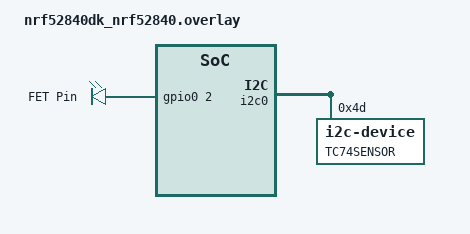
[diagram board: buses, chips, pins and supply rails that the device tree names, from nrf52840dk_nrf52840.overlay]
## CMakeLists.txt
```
# SPDX-License-Identifier: Apache-2.0

cmake_minimum_required(VERSION 3.20.0)
find_package(Zephyr REQUIRED HINTS $ENV{ZEPHYR_BASE})
project(Proj_3)

#  Add source files from main directory
target_sources(app PRIVATE
    src/main.c
)

#  Add include directories
target_include_directories(app PRIVATE
    src
    src/modules
)

#  Add subdirectory for modules
add_subdirectory(src/modules)
```

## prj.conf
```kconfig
CONFIG_GPIO=y
CONFIG_I2C=y
CONFIG_PRINTK=y
CONFIG_SERIAL=y
CONFIG_UART_ASYNC_API=y
```

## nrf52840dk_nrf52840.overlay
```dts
// To get started, press Ctrl+Space to bring up the completion menu and view the available nodes.

// You can also use the buttons in the sidebar to perform actions on nodes.
// Actions currently available include:

// * Enabling / disabling the node
// * Adding the bus to a bus
// * Removing the node
// * Connecting ADC channels

// For more help, browse the DeviceTree documentation at https://docs.zephyrproject.org/latest/guides/dts/index.html
// You can also visit the nRF DeviceTree extension documentation at https://nrfconnect.github.io/vscode-nrf-connect/devicetree/nrfdevicetree.html
&i2c0 {
    tc74sensor: tc74sensor@48{
        compatible = "i2c-device";
        reg = < 0x4D >;
        label = "TC74SENSOR";
    };
};
/ {
    leds {
        fetpin: fet-pin {
            gpios = <&gpio0 2 0>;
            label = "FET Pin";
        };
    };

    aliases {
        fetpin = &fetpin;
    };
};
```

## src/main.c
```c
/**
 * @file main.c
 * @brief Main system controller for temperature regulation
 *
 * This module initializes all system components including:
 * - LED indicators
 * - Temperature sensor (TC74 via I2C)
 * - Heater control (via FET)
 * - UART communication interface
 * - Real-Time Database (RTDB)
 * - Button inputs
 *
 * The system implements a PID controller for temperature regulation
 * with multiple threads handling different aspects of the control system.
 * \author Pedro Ramos, n.º 107348
 * \author Rafael Morgado, n.º 104277
 * \date 01/06/2025
 */

#include <zephyr/kernel.h>
#include <zephyr/device.h>
#include <zephyr/devicetree.h>
#include <zephyr/drivers/gpio.h>
#include <zephyr/drivers/i2c.h>   /* Required for  I2C */
#include <zephyr/drivers/uart.h>  /* for UART API*/
#include <zephyr/sys/printk.h>

#include <stdio.h>
#include <stdlib.h>
#include <string.h>

#include "modules/rtdb.h"
#include "modules/buttons.h"
#include "modules/PID.h"
#include "modules/cmdproc.h"

#define SUCCESS 0     /**< Operation successful return code */
#define ERR_FATAL -1  /**< Fatal error return code */



/* ---------- LED Configuration ---------- */
#define LED0_NODE DT_ALIAS(led0)  /**< Devicetree alias for LED0 */
#define LED1_NODE DT_ALIAS(led1)  /**< Devicetree alias for LED1 */
#define LED2_NODE DT_ALIAS(led2)  /**< Devicetree alias for LED2 */
#define LED3_NODE DT_ALIAS(led3)  /**< Devicetree alias for LED3 */

#define led_thread_period 500  /**< LED update period in milliseconds */
K_TIMER_DEFINE(led_thread_timer, NULL, NULL);  /**< Timer for LED thread */

static const struct gpio_dt_spec led0 = GPIO_DT_SPEC_GET(LED0_NODE, gpios);  /**< LED0 GPIO specification */
static const struct gpio_dt_spec led1 = GPIO_DT_SPEC_GET(LED1_NODE, gpios);  /**< LED1 GPIO specification */
static const struct gpio_dt_spec led2 = GPIO_DT_SPEC_GET(LED2_NODE, gpios);  /**< LED2 GPIO specification */
static const struct gpio_dt_spec led3 = GPIO_DT_SPEC_GET(LED3_NODE, gpios);  /**< LED3 GPIO specification */


/* ---------- Temperature Sensor Configuration ---------- */
#define TC74_CMD_RTR 0x00   /**< Read temperature command */
#define TC74_CMD_RWCR 0x01  /**< Read/write configuration register */

#define I2C0_NID DT_NODELABEL(tc74sensor)  /**< Devicetree node identifier for TC74 sensor */
static const struct i2c_dt_spec dev_i2c = I2C_DT_SPEC_GET(I2C0_NID);  /**< I2C device specification */

#define temp_read_thread_period 250  /**< Temperature reading period in milliseconds */
K_TIMER_DEFINE(temp_read_thread_timer, NULL, NULL);  /**< Timer for temperature reading thread */


/* ---------- Heater Control Configuration ---------- */
#define FET_NODE DT_ALIAS(fetpin)  /**< Devicetree alias for FET control pin */
static const struct gpio_dt_spec fet = GPIO_DT_SPEC_GET(FET_NODE, gpios);  /**< FET GPIO specification */


/* ---------- UART Configuration ---------- */
#define UART_NODE DT_NODELABEL(uart0)  /**< Devicetree node identifier for UART0 */

#define RXBUF_SIZE 60      /**< UART receive buffer size */
#define TXBUF_SIZE 60      /**< UART transmit buffer size */
#define MSG_BUF_SIZE 100   /**< Complete message buffer size */
#define RX_TIMEOUT 1000    /**< UART receive timeout in microseconds */

/** UART configuration structure */
const struct uart_config uart_cfg = {
		.baudrate = 115200,
		.parity = UART_CFG_PARITY_NONE,
		.stop_bits = UART_CFG_STOP_BITS_1,
		.data_bits = UART_CFG_DATA_BITS_8,
		.flow_ctrl = UART_CFG_FLOW_CTRL_NONE
};

const struct device *uart_dev = DEVICE_DT_GET(UART_NODE);  /**< UART device instance */
static uint8_t rx_buf[RXBUF_SIZE];      /**< UART receive buffer */
static uint8_t rx_chars[RXBUF_SIZE];    /**< Buffer for received characters */
volatile int uart_rxbuf_nchar = 0;      /**< Number of characters in receive buffer */

/*  - Callback Setup  */
static void uart_cb(const struct device *dev, struct uart_event *evt, void *user_data);


/* ---------- Semaphores ---------- */
struct k_sem sensor_to_controller_sem = Z_SEM_INITIALIZER(sensor_to_controller_sem, 0, 1); /**< For executing the PID controller on the new value after a sensor read  */
struct k_sem controller_to_heater_sem = Z_SEM_INITIALIZER(controller_to_heater_sem, 0, 1); /**< For executing the heat control based on the on/off value from the PID  */
struct k_sem uart_full_message_sem = Z_SEM_INITIALIZER(uart_full_message_sem, 0, 1); /**< For executing the command processor when a complete message is received  */



/**
 * @brief LED update task
 *
 * This thread periodically updates the LED indicators based on system state:
 * - LED0: System power state (on/off)
 * - LED1: Temperature within desired range (±2°C)
 * - LED2: Temperature below desired range
 * - LED3: Temperature above desired range
 */
void led_update_task(void) {
    k_timer_start(&led_thread_timer, K_MSEC(led_thread_period), K_MSEC(led_thread_period));

    while (1) {
        /*  Wait for timer event  */
        k_timer_status_sync(&led_thread_timer);

        bool on = rtdb_get_system_on();
        int desired = rtdb_get_desired_temp();
        int current = rtdb_get_current_temp();

        gpio_pin_set_dt(&led0, on ? 1 : 0);

        if (!on) {
            gpio_pin_set_dt(&led1, 0);
            gpio_pin_set_dt(&led2, 0);
            gpio_pin_set_dt(&led3, 0);
        } else {
            int diff = current - desired;
            gpio_pin_set_dt(&led1, (diff >= -2 && diff <= 2) ? 1 : 0);
            gpio_pin_set_dt(&led2, (diff < -2) ? 1 : 0);
            gpio_pin_set_dt(&led3, (diff > 2) ? 1 : 0);
        }
    }
}
K_THREAD_DEFINE(led_task_id, 1024, led_update_task, NULL, NULL, NULL, 5, 0, 0);


/**
 * @brief Temperature reading task
 *
 * This thread periodically reads the temperature from the TC74 sensor
 * and updates the RTDB with the current temperature value.
 *
 * @return int SUCCESS on success, ERR_FATAL on failure
 */
int read_temperature_task(void) {
    int ret = 0;
    uint8_t temp = 0; 

    k_timer_start(&temp_read_thread_timer, K_MSEC(temp_read_thread_period), K_MSEC(temp_read_thread_period));
    
    if (!device_is_ready(dev_i2c.bus)) {
	    printk("I2C bus %s is not ready!\n\r",dev_i2c.bus->name);
	    return ERR_FATAL;
    }

    /* Write (command RTR) to set the read address to temperature */
    ret = i2c_write_dt(&dev_i2c, TC74_CMD_RTR, 1);

    while (1) {
        /*  Wait for timer event  */
        k_timer_status_sync(&temp_read_thread_timer);

        /* Read temperature register */       
        ret = i2c_read_dt(&dev_i2c, &temp, sizeof(temp));

        rtdb_set_current_temp((int8_t)temp);

        uint64_t time_ms = k_uptime_get();
        uint32_t time_s = time_ms / 1000;
        uint32_t time_ms_remainder = time_ms % 1000;

        bool verboseMode = rtdb_get_verbose();

        if (verboseMode) {
            printk("Read temperature: %d at time %u.%03u s\n\r", temp, time_s, time_ms_remainder);
        }

        //  Tell the PID controller to start working with this new value
        k_sem_give(&sensor_to_controller_sem);
    }
    
    return SUCCESS;
}
K_THREAD_DEFINE(temp_read_task_id, 1024, read_temperature_task, NULL, NULL, NULL, 5, 0, 0);


/**
 * @brief PID controller task.
 *
 * This thread waits for new sensor data from the temperature reading task
 * and calculates the PID output to decide whether the heater should be on.
 * It then signals the heat control task to work on the value saved on the
 * rtdb.
 */
void pid_controller_task(void) {
    // Initialize PID
    float integral = 0.0f;
    float last_error = 0.0f;
    
    const float dt = 0.25f; // time period is similar to the thread cycle of read_temperature_task BUT NOT EQUAL

    while (1) {
        // Wait for new sensor value
        k_sem_take(&sensor_to_controller_sem, K_FOREVER);

        // Read current and desired temperatures from RTDB
        float current_temp = (float)rtdb_get_current_temp();
        float desired_temp = (float)rtdb_get_desired_temp();

        float output = pid_calculate(desired_temp, current_temp, dt, &last_error, &integral);

        // Conversion
        rtdb_set_heat_on((output > 0.0f) && rtdb_get_system_on());

        bool verboseMode = rtdb_get_verbose();

        if (verboseMode) {
            printk("PID decided heater state: %s (Current: %d°C, Desired: %d°C)\n\r", 
                (output > 0.0f) ? "ON" : "OFF", (int)current_temp, (int)desired_temp);
        }

        //  Tell the heater control to start working with this new value
        k_sem_give(&controller_to_heater_sem);
    }
}
K_THREAD_DEFINE(pid_task_id, 1024, pid_controller_task, NULL, NULL, NULL, 5, 0, 0);



/**
 * @brief Heater control task.
 *
 * This thread waits for the PID controller task to signal it and then 
 * toggles the heater state based on the PID output and system state.
 * It ensures the heater only operates when the system is on.
 */
void heat_control_task(void) {
    // Initialize PID
    bool last_heat_state = false;
    bool heater_state = false;

    while (1) {
        // Wait for new PID on/off value
        k_sem_take(&controller_to_heater_sem, K_FOREVER);

        bool verboseMode = rtdb_get_verbose();

        // Only control if system is on
        if (!rtdb_get_system_on()) {
            if (last_heat_state) {
                heater_state = false;
                gpio_pin_set_dt(&fet, 0);

                if (verboseMode) {
                    printk("System off, heater off\n\r");
                }
            }
            continue;
        }
        // Conversion
        heater_state = rtdb_get_heat_on();

        if (last_heat_state != heater_state){
            gpio_pin_set_dt(&fet, heater_state);
            if (verboseMode) {
                printk("Heater turned: %d\n\r", heater_state);
            }
        }

        last_heat_state = heater_state;
    }
}
K_THREAD_DEFINE(heat_task_id, 1024, heat_control_task, NULL, NULL, NULL, 5, 0, 0);


/**
 * @brief Initializes the UART peripheral.
 *
 * This function initializes the UART device, sets its configuration,
 * registers the callback, enables data reception, and prints a welcome 
 * message with instructions for the user.
 *
 * @return int SUCCESS on success, ERR_FATAL on failure
 */
int uart_init(void) {
    int err=0; /* Generic error variable */
    uint8_t welcome_mesg[] = "\n\rUART COM: Hello user! Here is the list of possible commands:\n -> M (#M+30219!):   Set desired temperature\n -> D (#D068!):      Get desired temperature\n -> C (#C067!):      Get current temperature\n -> S (#Sp1.23135!): Set PID parameters\n -> V (#V086!):      Toggle verbose mode\n\r\n\r"; 

    /* Check if uart device is open */
    if (!device_is_ready(uart_dev)) {
        printk("device_is_ready(uart) returned error! Aborting! \n\r");
        return ERR_FATAL;
    }

    /* Configure UART */
    err = uart_configure(uart_dev, &uart_cfg);
    if (err == -ENOSYS) { /* If invalid configuration */
        printk("uart_configure() error. Invalid configuration\n\r");
        return ERR_FATAL; 
    }

    /* Register callback */
    err = uart_callback_set(uart_dev, uart_cb, NULL);
    if (err) {
        printk("uart_callback_set() error. Error code:%d\n\r",err);
        return ERR_FATAL;
    }
		
    /* Enable data reception */
    err =  uart_rx_enable(uart_dev ,rx_buf,sizeof(rx_buf),RX_TIMEOUT);
    if (err) {
        printk("uart_rx_enable() error. Error code:%d\n\r",err);
        return ERR_FATAL;
    }

    /* Send a welcome message */ 
    printk("%s", welcome_mesg);

    return SUCCESS;
}


bool startingMessage = false;
/**
 * @brief UART callback function.
 *
 * This callback handles various UART events, including TX done, RX ready, and buffer requests.
 * It accumulates incoming characters into a message buffer when a message starts with '#'
 * and ends with '!'. It also handles buffer overflow and restarts reception as needed.
 *
 * @param dev Pointer to the UART device structure.
 * @param evt Pointer to the UART event structure.
 * @param user_data Unused pointer to user data.
 */
static void uart_cb(const struct device *dev, struct uart_event *evt, void *user_data) {
    int err;
    
    switch (evt->type) {
	
        case UART_TX_DONE:
            break;

    	case UART_TX_ABORTED:
	    	printk("UART_TX_ABORTED event \n\r");
		    break;
		
	    case UART_RX_RDY:
            // Process each received character
            for (int i = 0; i < evt->data.rx.len; i++) {
                uint8_t c = rx_buf[evt->data.rx.offset + i];
                
                // Start of new message
                if (c == '#') {
                    startingMessage = true;
                    uart_rxbuf_nchar = 0;  // Reset buffer index
                    rx_chars[uart_rxbuf_nchar++] = c;  // Store the start character
                    rxChar(c);
                    printk("%c", c);
                } 
                // In the middle of another message
                else if (startingMessage) {
                    // Only store if we're in a message
                    if (uart_rxbuf_nchar < (RXBUF_SIZE - 1)) {
                        rx_chars[uart_rxbuf_nchar++] = c;
                        rxChar(c);
                    } 
                    else {
                        // Buffer overflow - discard message
                        printk("Message too long, discarding\n");
                        startingMessage = false;
                    }
                    
                    printk("%c", c);

                    // Check for end character
                    if (c == '!') {
                        printk("\n");
                        rx_chars[uart_rxbuf_nchar] = '\0';  // Null-terminate
                        k_sem_give(&uart_full_message_sem);  // Notify processor
                        startingMessage = false;
                        uart_rxbuf_nchar = 0;
                        memset(rx_buf, 0, sizeof(rx_buf));
                    }
                }
            }

		    break;

	    case UART_RX_BUF_REQUEST:
            printk("\n\rERR: Message too long, discarding\n");
            startingMessage = false;
            uart_rxbuf_nchar = 0;
            memset(rx_buf, 0, sizeof(rx_buf));
		    break;

	    case UART_RX_BUF_RELEASED:
		    break;
		
	    case UART_RX_DISABLED: 
            /* When the RX_BUFF becomes full RX is disabled automaticaly.  */
            /* It must be re-enabled manually for continuous reception */
		    err =  uart_rx_enable(uart_dev ,rx_buf,sizeof(rx_buf),RX_TIMEOUT);
            if (err) {
                printk("uart_rx_enable() error. Error code:%d\n\r",err);
                exit(ERR_FATAL);                
            }
		    break;

	    case UART_RX_STOPPED:
		    printk("UART_RX_STOPPED event \n\r");
		    break;
		
	    default:
            printk("UART: unknown event \n\r");
		    break;
    }

}


/**
 * @brief UART command processing task.
 *
 * This thread waits for complete UART messages, processes the command, and sends
 * a response back via UART. It coordinates with the UART callback to handle incoming messages.
 *
 * @return int SUCCESS on success, ERR_FATAL on failure.
 */
int uart_command_task(void) {
    int err;
    uint8_t rep_mesg[MSG_BUF_SIZE];
	int len;
	unsigned char ans[64];

    while (1) {
		resetRxBuffer();
		resetTxBuffer();
        // Wait for new complete message
        k_sem_take(&uart_full_message_sem, K_FOREVER);

        cmdProcessor();     
        getTxBuffer(ans, &len);
        ans[len] = 0; /* Terminate the string */

        sprintf(rep_mesg,"Response: %s\n\r",ans);            
        
        err = uart_tx(uart_dev, rep_mesg, strlen(rep_mesg), SYS_FOREVER_MS);
        if (err) {
            printk("uart_tx() error. Error code:%d\n\r",err);
            return ERR_FATAL;
        }
    }
}
K_THREAD_DEFINE(uart_command_id, 1024, uart_command_task, NULL, NULL, NULL, 5, 0, 0);


/**
 * @brief Main function.
 *
 * Initializes system peripherals including LEDs, heater FET, UART, RTDB, and buttons.
 * Configures UART receive/transmit buffers and starts the system.
 *
 * @return int SUCCESS on successful initialization.
 */
int main(void) {
    //  Setup LEDs
    gpio_pin_configure_dt(&led0, GPIO_OUTPUT_INACTIVE);
    gpio_pin_configure_dt(&led1, GPIO_OUTPUT_INACTIVE);
    gpio_pin_configure_dt(&led2, GPIO_OUTPUT_INACTIVE);
    gpio_pin_configure_dt(&led3, GPIO_OUTPUT_INACTIVE);
    // Setup Heater FET
    gpio_pin_configure_dt(&fet, GPIO_OUTPUT_INACTIVE);
        

    uart_init();
    rtdb_init();
    buttons_init();

	/* Init UART RX and TX buffers */
	resetTxBuffer();
	resetRxBuffer();

    return SUCCESS;
}
```

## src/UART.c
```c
#include <zephyr/kernel.h>
#include <zephyr/console/console.h>
#include <zephyr/sys/printk.h>
#include <string.h>
#include <stdlib.h>

#define UART_STACK_SIZE 1024
#define UART_PRIORITY 7
#define BUFFER_SIZE 64

// Função fictícia que obtém a temperatura real do sensor (deves implementar)
extern int rtdb_get_current_temp(void);

// Enviar ACK com checksum correto
static void send_ack(void) {
    int cs = ('E' + 'o') % 256;
    printk("#Eo%03d!\n", cs);
}

// Enviar erro com código e checksum correto
static void send_error(char code) {
    int cs = ('E' + code) % 256;
    printk("#E%c%03d!\n", code, cs);
}

// Enviar temperatura atual com checksum correto
static void send_temperature_response(int temp) {
    char temp_str[4];
    snprintf(temp_str, sizeof(temp_str), "%03d", temp);

    int sum = 'c';
    for (int i = 0; i < 3; i++) {
        sum += temp_str[i];
    }
    int cs = sum % 256;

    printk("#c%s%03d!\n", temp_str, cs);
}

// Calcula checksum do comando
static int calculate_checksum(char cmd, const char *data) {
    int sum = cmd;
    for (int i = 0; data[i] != '\0'; i++) {
        sum += data[i];
    }
    return sum % 256;
}

// Processa uma string de comando UART no formato #CMD DATA CS!
static void process_uart_frame(const char *frame) {
    if (frame[0] != '#' || frame[strlen(frame) - 1] != '!') {
        send_error('f');  // framing error
        return;
    }

    char cmd = frame[1];
    char data[32] = {0};
    char cs_str[4] = {0};
    int data_len;

    if (cmd == 'C') {
        // Comando #Cyyy! sem dados
        data_len = 0;
        strncpy(cs_str, &frame[2], 3);
        cs_str[3] = '\0';
    } else {
        data_len = strlen(frame) - 6;
        if (data_len < 0 || data_len > 30) {
            send_error('f');
            return;
        }
        strncpy(data, &frame[2], data_len);
        data[data_len] = '\0';
        strncpy(cs_str, &frame[2 + data_len], 3);
        cs_str[3] = '\0';
    }

    int received_cs = atoi(cs_str);
    int computed_cs = calculate_checksum(cmd, data);

    if (received_cs != computed_cs) {
        send_error('s'); // checksum error
        return;
    }

    switch (cmd) {
        case 'C': {
            int temp = rtdb_get_current_temp();
            send_temperature_response(temp);
            break;
        }

        case 'M': {
            // Exemplo: define temperatura máxima — adaptar se quiseres guardar
            int max_temp = atoi(data);
            // TODO: armazenar max_temp se necessário
            send_ack();
            break;
        }

        case 'S': {
            // Configura parâmetros do controlador, exemplo: Kp, Ti, Td
            int kp = atoi(&data[0]);
            int ti = atoi(&data[3]);
            int td = atoi(&data[6]);
            printk("Controller params set: Kp=%d, Ti=%d, Td=%d\n", kp, ti, td);
            send_ack();
            break;
        }

        default:
            send_error('i'); // invalid command
            break;
    }
}

// Task UART: lê comandos ASCII via console e processa frames
void uart_task(void)
{
    char buffer[BUFFER_SIZE];
    int index = 0;
    char c;

    console_init();
    printk("UART task started. Awaiting commands...\n");

    while (1) {
        c = console_getchar();

        if (index == 0 && c != '#') {
            continue;
        }

        buffer[index++] = c;

        if (c == '!') {
            buffer[index] = '\0';
            process_uart_frame(buffer);
            index = 0;
        }

        if (index >= BUFFER_SIZE - 1) {
            printk("Buffer overflow, resetting buffer\n");
            index = 0;
        }
    }
}

// Cria thread UART
K_THREAD_DEFINE(uart_tid, UART_STACK_SIZE, uart_task, NULL, NULL, NULL, UART_PRIORITY, 0, 0);
```

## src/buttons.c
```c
#include <zephyr/kernel.h>
#include <zephyr/drivers/gpio.h>
#include <zephyr/devicetree.h>
#include "modules/rtdb.h"

/**
 * @file buttons.c
 * @brief Gestão dos botões físicos do sistema.
 *
 * Configura os botões BTN1, BTN2 e BTN4 para operar por interrupção. Cada botão invoca um callback:
 * - BTN1: Liga/desliga o sistema.
 * - BTN2: Aumenta a temperatura desejada.
 * - BTN4: Diminui a temperatura desejada.
 *
 * Cada ação manipula a base de dados em tempo real (RTDB), assegurando a sincronização entre tarefas.
 */


/* GPIO config for buttons */
#define BTN1_NODE DT_ALIAS(sw0)
#define BTN2_NODE DT_ALIAS(sw1)
#define BTN4_NODE DT_ALIAS(sw3)

static const struct gpio_dt_spec btn1 = GPIO_DT_SPEC_GET(BTN1_NODE, gpios);
static const struct gpio_dt_spec btn2 = GPIO_DT_SPEC_GET(BTN2_NODE, gpios);
static const struct gpio_dt_spec btn4 = GPIO_DT_SPEC_GET(BTN4_NODE, gpios);

static struct gpio_callback cb_btn1, cb_btn2, cb_btn4;

static void btn1_handler(const struct device *dev, struct gpio_callback *cb, uint32_t pins) {
    rtdb_set_system_on(!rtdb_get_system_on());
}

static void btn2_handler(const struct device *dev, struct gpio_callback *cb, uint32_t pins) {
    if (rtdb_get_system_on())
        rtdb_set_desired_temp(rtdb_get_desired_temp() + 1);
}

static void btn4_handler(const struct device *dev, struct gpio_callback *cb, uint32_t pins) {
    if (rtdb_get_system_on())
        rtdb_set_desired_temp(rtdb_get_desired_temp() - 1);
}

void buttons_init(void) {
    gpio_pin_configure_dt(&btn1, GPIO_INPUT);
    gpio_pin_configure_dt(&btn2, GPIO_INPUT);
    gpio_pin_configure_dt(&btn4, GPIO_INPUT);

    gpio_pin_interrupt_configure_dt(&btn1, GPIO_INT_EDGE_TO_ACTIVE);
    gpio_pin_interrupt_configure_dt(&btn2, GPIO_INT_EDGE_TO_ACTIVE);
    gpio_pin_interrupt_configure_dt(&btn4, GPIO_INT_EDGE_TO_ACTIVE);

    gpio_init_callback(&cb_btn1, btn1_handler, BIT(btn1.pin));
    gpio_add_callback(btn1.port, &cb_btn1);

    gpio_init_callback(&cb_btn2, btn2_handler, BIT(btn2.pin));
    gpio_add_callback(btn2.port, &cb_btn2);

    gpio_init_callback(&cb_btn4, btn4_handler, BIT(btn4.pin));
    gpio_add_callback(btn4.port, &cb_btn4);
}
```

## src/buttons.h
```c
#ifndef BUTTONS_H
#define BUTTONS_H

void buttons_init(void);  // just declare the function here

#endif
```

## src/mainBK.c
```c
#include <zephyr/kernel.h>
#include <zephyr/device.h>
#include <zephyr/devicetree.h>
#include <zephyr/drivers/gpio.h>
#include <zephyr/sys/printk.h>

/**
 * @file mainBK.c
 * @brief Versão standalone do sistema de controlo de temperatura.
 *
 * Inclui diretamente o controlo dos LEDs e dos botões, bem como a leitura da temperatura do sensor TC74
 * via I2C. Este ficheiro representa uma versão inicial e funcional do sistema sem modularização.
 *
 * Útil para testes ou validação isolada dos periféricos (botões, LEDs, sensor).
 */


/*  Button and LED nodes  */
#define BTN1_NODE DT_ALIAS(sw0)
#define BTN2_NODE DT_ALIAS(sw1)
#define BTN4_NODE DT_ALIAS(sw3)
#define LED1_NODE DT_ALIAS(led0)
#define LED2_NODE DT_ALIAS(led1)
#define LED3_NODE DT_ALIAS(led2)
#define LED4_NODE DT_ALIAS(led3)

/*  GPIO specs  */
static const struct gpio_dt_spec btn1 = GPIO_DT_SPEC_GET(BTN1_NODE, gpios);
static const struct gpio_dt_spec btn2 = GPIO_DT_SPEC_GET(BTN2_NODE, gpios);
static const struct gpio_dt_spec btn4 = GPIO_DT_SPEC_GET(BTN4_NODE, gpios);

static const struct gpio_dt_spec led1 = GPIO_DT_SPEC_GET(LED1_NODE, gpios);
static const struct gpio_dt_spec led2 = GPIO_DT_SPEC_GET(LED2_NODE, gpios);
static const struct gpio_dt_spec led3 = GPIO_DT_SPEC_GET(LED3_NODE, gpios);
static const struct gpio_dt_spec led4 = GPIO_DT_SPEC_GET(LED4_NODE, gpios);

/*  Button callback structures  */
static struct gpio_callback cb_btn1, cb_btn2, cb_btn4;

/*  System state  */
static bool systemOn = false;
static int desiredTemp = 20; //  Start at 20°C
static int currentTemp = 20; //  TODO: replace with sensor

/* TC74 I2C sensor */
#define TC74_NODE DT_NODELABEL(tc74sensor)
static const struct i2c_dt_spec temp_sensor = I2C_DT_SPEC_GET(TC74_NODE);

/* Update all LEDs based on system and temperature state */
void update_leds(void) {
    
    gpio_pin_set_dt(&led1, systemOn ? 1 : 0);

    if (!systemOn) {
        gpio_pin_set_dt(&led2, 0);
        gpio_pin_set_dt(&led3, 0);
        gpio_pin_set_dt(&led4, 0);
        return;
    }

    int diff = currentTemp - desiredTemp;
    gpio_pin_set_dt(&led2, (diff >= -2 && diff <= 2) ? 1 : 0);
    gpio_pin_set_dt(&led3, (diff < -2) ? 1 : 0);
    gpio_pin_set_dt(&led4, (diff > 2) ? 1 : 0);
}

/* Button callbacks */
void btn1_pressed(const struct device *dev, struct gpio_callback *cb, uint32_t pins) {
    systemOn = !systemOn;
    printk("System turned %s\n", systemOn ? "ON" : "OFF");
    update_leds();
}

void btn2_pressed(const struct device *dev, struct gpio_callback *cb, uint32_t pins) {
    if (systemOn) {
        desiredTemp++;
        printk("Desired temperature increased to %d\n", desiredTemp);
        update_leds();
    }
}

void btn4_pressed(const struct device *dev, struct gpio_callback *cb, uint32_t pins) {
    if (systemOn) {
        desiredTemp--;
        printk("Desired temperature decreased to %d\n", desiredTemp);
        update_leds();
    }
}

int main(void) {

    int ret;
    uint8_t temp;

    gpio_pin_configure_dt(&led1, GPIO_OUTPUT_INACTIVE);
    gpio_pin_configure_dt(&led2, GPIO_OUTPUT_INACTIVE);
    gpio_pin_configure_dt(&led3, GPIO_OUTPUT_INACTIVE);
    gpio_pin_configure_dt(&led4, GPIO_OUTPUT_INACTIVE);

    gpio_pin_configure_dt(&btn1, GPIO_INPUT);
    gpio_pin_configure_dt(&btn2, GPIO_INPUT);
    gpio_pin_configure_dt(&btn4, GPIO_INPUT);

    gpio_pin_interrupt_configure_dt(&btn1, GPIO_INT_EDGE_TO_ACTIVE);
    gpio_pin_interrupt_configure_dt(&btn2, GPIO_INT_EDGE_TO_ACTIVE);
    gpio_pin_interrupt_configure_dt(&btn4, GPIO_INT_EDGE_TO_ACTIVE);

    gpio_init_callback(&cb_btn1, btn1_pressed, BIT(btn1.pin));
    gpio_init_callback(&cb_btn2, btn2_pressed, BIT(btn2.pin));
    gpio_init_callback(&cb_btn4, btn4_pressed, BIT(btn4.pin));

    gpio_add_callback(btn1.port, &cb_btn1);
    gpio_add_callback(btn2.port, &cb_btn2);
    gpio_add_callback(btn4.port, &cb_btn4);

    printk("System initialized with desired temp = 20°C\n");


    /* Check if sensor is ready */
    if (!device_is_ready(temp_sensor.bus)) {
        printk("I2C device not ready!\n");
        return -1;
    }

    /* Set sensor to RTR mode (safe practice) */
    uint8_t cmd = 0x00;
    ret = i2c_write_dt(&temp_sensor, &cmd, 1);
    if (ret != 0) {
        printk("Error sending RTR command to sensor\n");
        return -1;
    }

        while (1) {
        /* Read temperature from sensor */
        ret = i2c_read_dt(&temp_sensor, &temp, sizeof(temp));
        if (ret == 0) {
            currentTemp = temp;
            printk("Current temperature: %d °C\n", currentTemp);
        } else {
            printk("Failed to read temperature\n");
        }

        update_leds();
        k_sleep(K_SECONDS(5));
        // Simulate temp changes here, e.g.:
        // currentTemp += 1;
        // update_leds();
    }



    return 0;
}
```

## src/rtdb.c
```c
#include "rtdb.h"

/**
 * @file rtdb.c
 * @brief Real-Time Database (RTDB) para sincronização entre tarefas.
 *
 * Armazena variáveis partilhadas do sistema como:
 * - Estado ON/OFF do sistema
 * - Temperatura desejada
 * - Temperatura atual (medida)
 *
 * Todos os acessos são protegidos por `k_mutex`, garantindo integridade em ambiente multitarefa.
 * Fornece funções `get` e `set` para abstrair o acesso concorrente aos dados.
 */


static struct {
    bool system_on;
    int desired_temp;
    int current_temp;
    bool heat_on;
    struct k_mutex lockSysOn;
    struct k_mutex lockDesTemp;
    struct k_mutex lockCurrTemp;
    struct k_mutex lockHeatOn;
    //  TODO: talk advantages of having one lock for each (multiple acesses to rtdb)
} db;

void rtdb_init(void) {
    db.system_on = false;
    db.desired_temp = 28;
    db.current_temp = 28;
    k_mutex_init(&db.lockSysOn);
    k_mutex_init(&db.lockDesTemp);
    k_mutex_init(&db.lockCurrTemp);
}

void rtdb_set_system_on(bool on) {
    k_mutex_lock(&db.lockSysOn, K_FOREVER);
    db.system_on = on;
    k_mutex_unlock(&db.lockSysOn);
}

bool rtdb_get_system_on(void) {
    k_mutex_lock(&db.lockSysOn, K_FOREVER);
    bool on = db.system_on;
    k_mutex_unlock(&db.lockSysOn);
    return on;
}

void rtdb_set_desired_temp(int temp) {
    k_mutex_lock(&db.lockDesTemp, K_FOREVER);
    db.desired_temp = temp;
    k_mutex_unlock(&db.lockDesTemp);
}

int rtdb_get_desired_temp(void) {
    k_mutex_lock(&db.lockDesTemp, K_FOREVER);
    int temp = db.desired_temp;
    k_mutex_unlock(&db.lockDesTemp);
    return temp;
}

void rtdb_set_current_temp(int temp) {
    k_mutex_lock(&db.lockCurrTemp, K_FOREVER);
    db.current_temp = temp;
    k_mutex_unlock(&db.lockCurrTemp);
}

int rtdb_get_current_temp(void) {
    k_mutex_lock(&db.lockCurrTemp, K_FOREVER);
    int temp = db.current_temp;
    k_mutex_unlock(&db.lockCurrTemp);
    return temp;
}

void rtdb_set_heat_on(bool on) {
    k_mutex_lock(&db.lockHeatOn, K_FOREVER);
    db.heat_on = on;
    k_mutex_unlock(&db.lockHeatOn);
}

bool rtdb_get_heat_on(void) {
    k_mutex_lock(&db.lockHeatOn, K_FOREVER);
    bool on = db.heat_on;
    k_mutex_unlock(&db.lockHeatOn);
    return on;
}
```

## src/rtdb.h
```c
#ifndef RTDB_H
#define RTDB_H

#include <zephyr/kernel.h>

void rtdb_init(void);

void rtdb_set_system_on(bool on);
bool rtdb_get_system_on(void);

void rtdb_set_desired_temp(int temp);
int  rtdb_get_desired_temp(void);

void rtdb_set_current_temp(int temp);
int  rtdb_get_current_temp(void);

void rtdb_set_heat_on(bool on);
bool rtdb_get_heat_on(void);

#endif
```
